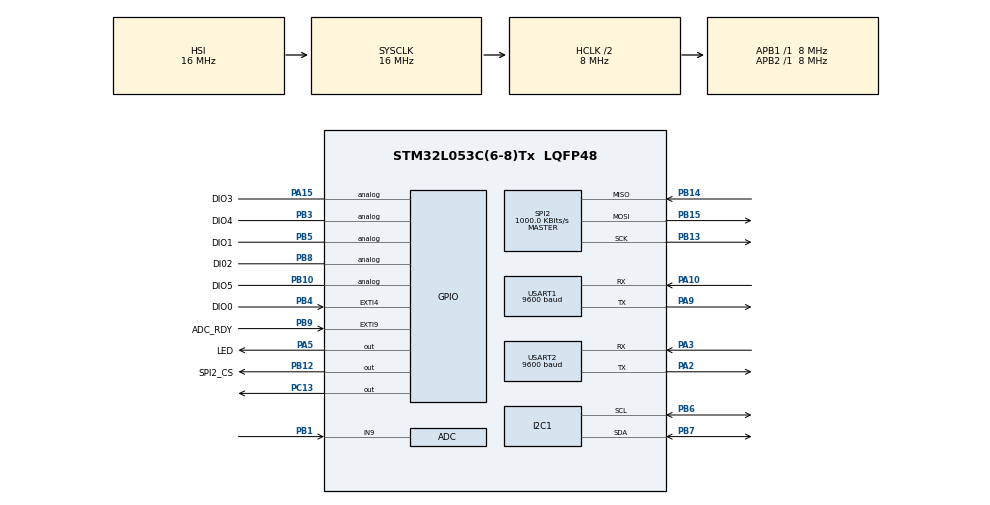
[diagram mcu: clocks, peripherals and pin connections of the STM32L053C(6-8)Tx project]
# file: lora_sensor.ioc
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ADC.ClockPrescaler=ADC_CLOCK_SYNC_PCLK_DIV2
ADC.ContinuousConvMode=ENABLE
ADC.DMAContinuousRequests=DISABLE
ADC.DataAlign=ADC_DATAALIGN_RIGHT
ADC.DiscontinuousConvMode=DISABLE
ADC.EOCSelection=ADC_EOC_SINGLE_CONV
ADC.EnableAnalogWatchDog=false
ADC.ExternalTrigConv=ADC_SOFTWARE_START
ADC.ExternalTrigConvEdge=ADC_EXTERNALTRIGCONVEDGE_NONE
ADC.LowPowerAutoPowerOff=DISABLE
ADC.LowPowerAutoWait=ENABLE
ADC.LowPowerFrequencyMode=DISABLE
ADC.Overrun=ADC_OVR_DATA_PRESERVED
ADC.OversamplingMode=DISABLE
ADC.Resolution=ADC_RESOLUTION_12B
ADC.SamplingTime=ADC_SAMPLETIME_160CYCLES_5
ADC.ScanConvMode=ADC_SCAN_DIRECTION_FORWARD
I2C1.Timing=0x2000090E
Mcu.Family=STM32L0
Mcu.Name=STM32L053C(6-8)Tx
Mcu.Package=LQFP48
NVIC.EXTI4_15_IRQn=true\:0\:0\:false\:true\:true\:2\:true
NVIC.RTC_IRQn=true\:0\:0\:true\:true\:true\:1\:true
NVIC.USART1_IRQn=true\:0\:0\:false\:false\:true\:true
NVIC.USART2_IRQn=true\:0\:0\:false\:false\:true\:true
PA10.Mode=Asynchronous
PA10.Signal=USART1_RX
PA13.Mode=Serial_Wire
PA13.Signal=SYS_SWDIO
PA14.Mode=Serial_Wire
PA14.Signal=SYS_SWCLK
PA15.GPIO_Label=DIO3
PA15.Signal=GPIO_Analog
PA2.Mode=Asynchronous
PA2.Signal=USART2_TX
PA3.Mode=Asynchronous
PA3.Signal=USART2_RX
PA5.GPIO_Label=LED
PA5.Signal=GPIO_Output
PA9.Mode=Asynchronous
PA9.Signal=USART1_TX
PB1.Mode=IN9
PB1.Signal=ADC_IN9
PB10.GPIO_Label=DIO5
PB10.Signal=GPIO_Analog
PB12.GPIO_Label=SPI2_CS
PB12.Signal=GPIO_Output
PB13.Mode=Full_Duplex_Master
PB13.Signal=SPI2_SCK
PB14.Mode=Full_Duplex_Master
PB14.Signal=SPI2_MISO
PB15.Mode=Full_Duplex_Master
PB15.Signal=SPI2_MOSI
PB3.GPIO_Label=DIO4
PB3.Signal=GPIO_Analog
PB4.GPIO_Label=DIO0
PB4.Signal=GPXTI4
PB5.GPIO_Label=DIO1
PB5.Signal=GPIO_Analog
PB6.Mode=I2C
PB6.Signal=I2C1_SCL
PB7.Mode=I2C
PB7.Signal=I2C1_SDA
PB8.GPIO_Label=DI02
PB8.Signal=GPIO_Analog
PB9.GPIO_Label=ADC_RDY
PB9.Signal=GPXTI9
PC13.Signal=GPIO_Output
ProjectManager.HeapSize=0x200
ProjectManager.StackSize=0x400
ProjectManager.TargetToolchain=SW4STM32
RCC.AHBCLKDivider=RCC_SYSCLK_DIV2
RCC.AHBFreq_Value=8000000
RCC.APB1Freq_Value=8000000
RCC.APB1TimFreq_Value=8000000
RCC.APB2Freq_Value=8000000
RCC.APB2TimFreq_Value=8000000
RCC.HCLKFreq_Value=8000000
RCC.HSE_VALUE=8000000
RCC.HSI16_VALUE=16000000
RCC.HSI48_VALUE=48000000
RCC.HSI_VALUE=16000000
RCC.LSE_VALUE=32768
RCC.MSI_VALUE=2097000
RCC.SYSCLKFreq_VALUE=16000000
RCC.SYSCLKSource=RCC_SYSCLKSOURCE_HSI
RCC.VCOOutputFreq_Value=48000000
RTC.WakeUpClock-WakeUp=RTC_WAKEUPCLOCK_CK_SPRE_16BITS
SPI2.BaudRatePrescaler=SPI_BAUDRATEPRESCALER_8
SPI2.CLKPhase=SPI_PHASE_1EDGE
SPI2.CLKPolarity=SPI_POLARITY_LOW
SPI2.CalculateBaudRate=1000.0 KBits/s
SPI2.Direction=SPI_DIRECTION_2LINES
SPI2.Mode=SPI_MODE_MASTER
SPI2.VirtualType=VM_MASTER
USART1.BaudRate=9600
USART1.VirtualMode-Asynchronous=VM_ASYNC
USART1.WordLength=WORDLENGTH_8B
USART2.BaudRate=9600
USART2.VirtualMode-Asynchronous=VM_ASYNC
VP_ADC_TempSens_Input.Mode=IN-TempSens
VP_RTC_VS_RTC_Activate.Mode=RTC_Enabled
VP_RTC_VS_RTC_Calendar.Mode=RTC_Calendar
VP_RTC_VS_RTC_WakeUp_intern.Mode=WakeUp
board=lora_sensor

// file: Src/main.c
/* USER CODE BEGIN Header */
/**
  ******************************************************************************
  * @file           : main.c
  * @brief          : Main program body
  ******************************************************************************
  ** This notice applies to any and all portions of this file
  * that are not between comment pairs USER CODE BEGIN and
  * USER CODE END. Other portions of this file, whether
  * inserted by the user or by software development tools
  * are owned by their respective copyright owners.
  *
  * COPYRIGHT(c) 2018 STMicroelectronics
  *
  * Redistribution and use in source and binary forms, with or without modification,
  * are permitted provided that the following conditions are met:
  *   1. Redistributions of source code must retain the above copyright notice,
  *      this list of conditions and the following disclaimer.
  *   2. Redistributions in binary form must reproduce the above copyright notice,
  *      this list of conditions and the following disclaimer in the documentation
  *      and/or other materials provided with the distribution.
  *   3. Neither the name of STMicroelectronics nor the names of its contributors
  *      may be used to endorse or promote products derived from this software
  *      without specific prior written permission.
  *
  * THIS SOFTWARE IS PROVIDED BY THE COPYRIGHT HOLDERS AND CONTRIBUTORS "AS IS"
  * AND ANY EXPRESS OR IMPLIED WARRANTIES, INCLUDING, BUT NOT LIMITED TO, THE
  * IMPLIED WARRANTIES OF MERCHANTABILITY AND FITNESS FOR A PARTICULAR PURPOSE ARE
  * DISCLAIMED. IN NO EVENT SHALL THE COPYRIGHT HOLDER OR CONTRIBUTORS BE LIABLE
  * FOR ANY DIRECT, INDIRECT, INCIDENTAL, SPECIAL, EXEMPLARY, OR CONSEQUENTIAL
  * DAMAGES (INCLUDING, BUT NOT LIMITED TO, PROCUREMENT OF SUBSTITUTE GOODS OR
  * SERVICES; LOSS OF USE, DATA, OR PROFITS; OR BUSINESS INTERRUPTION) HOWEVER
  * CAUSED AND ON ANY THEORY OF LIABILITY, WHETHER IN CONTRACT, STRICT LIABILITY,
  * OR TORT (INCLUDING NEGLIGENCE OR OTHERWISE) ARISING IN ANY WAY OUT OF THE USE
  * OF THIS SOFTWARE, EVEN IF ADVISED OF THE POSSIBILITY OF SUCH DAMAGE.
  *
  ******************************************************************************
  */
/* USER CODE END Header */

#include "main.h"
#include "adc.h"
#include "i2c.h"
#include "rtc.h"
#include "spi.h"
#include "usart.h"
#include "gpio.h"

/* USER CODE BEGIN Includes */

#include "string.h"
#include "stdio.h"

#include "rfm95.h"
#include "payload_solar.h"
#include "ads1015.h"
#include "battery.h"
#include "temperature.h"
#include "light.h"

/* USER CODE END Includes */

/* USER CODE BEGIN PD */
#define TXBUFFERSIZE 128
#define RXBUFFERSIZE 1

/* USER CODE END PD */

/* USER CODE BEGIN PV */
/* Private variables ---------------------------------------------------------*/

/* USER CODE END PV */

void SystemClock_Config(void);
static void MX_NVIC_Init(void);
/* USER CODE BEGIN PFP */
/* Private function prototypes -----------------------------------------------*/

/* USER CODE END PFP */

/* USER CODE BEGIN 0 */

volatile uint8_t dio0_action = 0;
MAIN_StateTypeDef state;

/* Buffer used for debug UART */
char tx_buffer[TXBUFFERSIZE];
char aRxBuffer[RXBUFFERSIZE];
volatile uint8_t txBuffer[TXBUFFERSIZE];
volatile uint8_t txIndex = 0;
//__IO ITStatus txReady = RESET;
volatile RX_StateTypeDef rxStatus = RX_STATE_EMPTY;
volatile PAYLOAD_Solar payload;
uint8_t payload_buff[PAYLOAD_Solar_SIZE];

/* USER CODE END 0 */

int main(void)
{

  /* MCU Configuration--------------------------------------------------------*/

  /* Reset of all peripherals, Initializes the Flash interface and the Systick. */
  HAL_Init();

  /* Configure the system clock */
  SystemClock_Config();

  /* Initialize all configured peripherals */
  MX_GPIO_Init();
  MX_ADC_Init();
  MX_I2C1_Init();
  MX_RTC_Init();
  MX_USART1_UART_Init();
  MX_SPI2_Init();
  MX_USART2_UART_Init();

  /* Initialize interrupts */
  MX_NVIC_Init();
  /* USER CODE BEGIN 2 */

  HAL_ADCEx_Calibration_Start(&hadc, ADC_SINGLE_ENDED);

    /* Enable Ultra low power mode */
    HAL_PWREx_EnableUltraLowPower();
    __HAL_RCC_WAKEUPSTOP_CLK_CONFIG(RCC_STOP_WAKEUPCLOCK_HSI);

    RFM95_init(&hspi2);

    payload.MessageType = 55;
    payload.DeviceId = 2;
    payload.MessageId = 0;
    payload.Flags = 0;
    payload.Light = 0; // Not got a light sensor attached to this device.

    // Start in sensing mode.
    state = MAIN_STATE_SENSE;
    //state = MAIN_STATE_SLEEP; //TMP sleep until UART payload

    /* Listen to the UART */
    HAL_UART_Receive_IT(&huart1, (uint8_t *)aRxBuffer, RXBUFFERSIZE);

  /* USER CODE END 2 */

  /* Infinite loop */
    while (1) {

    /* USER CODE BEGIN 3 */

        /* Do some work */
        if (state == MAIN_STATE_SENSE) {
            HAL_ADC_Start(&hadc);
            // Junk readings as the adc just turned on.
            payload.Temperature = TEMPERATURE_external();
            payload.CpuTemperature = TEMPERATURE_cpu();

            HAL_GPIO_WritePin(GPIOA, LED_Pin, GPIO_PIN_SET);

            payload.MessageId++;
            payload.VCC = BATTERY_vcc();
            payload.ChargeMv = BATTERY_ChargeMv();
            payload.ChargeMa = BATTERY_ChargeMa();

            // No external temperature sensor attached.
            // BUT TEMPERATURE_external() must still be called :(
            payload.Temperature = TEMPERATURE_external();
            //payload.Temperature = 0;

            payload.CpuTemperature = TEMPERATURE_cpu();
            HAL_ADC_Stop(&hadc);

            // Send data to debug UART.
			int tx_len = snprintf(
			  tx_buffer,
			  TXBUFFERSIZE,
			  "msg_id:%d, device_id:%u, flags:%X, vcc:%u, ma:%d, cpuC:%d\n",
			  payload.MessageId,
			  payload.DeviceId,
			  payload.Flags,
			  payload.VCC,
			  payload.ChargeMa,
			  payload.CpuTemperature
			);
			// Blocking UART.
			HAL_UART_Transmit(&huart2, (uint8_t *)tx_buffer, tx_len, 500);

            PAYLOAD_Solar_serialize(payload, payload_buff);
            RFM95_send(&hspi2, payload_buff, PAYLOAD_Solar_SIZE);

            state = MAIN_STATE_TX;
            /* Reset the flags as they must be set by the UART */
            payload.Flags = 0;
        }

        /* Do nothing while the transmission is in progress */
        else if (state == MAIN_STATE_TX) {
            if (dio0_action == 1) {
                RFM95_setMode(&hspi2, RFM95_MODE_SLEEP);
                state = MAIN_STATE_SLEEP;
            }

            //TMP while interrupts are investigated
            //HAL_Delay(30);
            //state = MAIN_STATE_SLEEP;
        }

        /* Now that all the work is done, sleep until its time to do it all again */
        else if (state == MAIN_STATE_SLEEP) {
            HAL_GPIO_WritePin(GPIOA, LED_Pin, GPIO_PIN_RESET);

//            // RX buffer has been processed, listen again for more.
//			  if (rxStatus == RX_STATE_EMPTY || rxStatus == RX_STATE_INCOMING) {
//				  payload.Flags = 0;
//				  // Non blocking.
//				  HAL_UART_Receive_IT(&huart1, (uint8_t *)aRxBuffer, RXBUFFERSIZE);
//			  } else if (rxStatus == RX_STATE_FULL) {
//				  // Got a UART message
//				  payload.Flags = txBuffer[0];
//				  //state = MAIN_STATE_SENSE;
//			  }

              //TMP
              HAL_Delay(17000);

//            /* Turn off the pin interrupts */
//            HAL_NVIC_DisableIRQ(EXTI4_15_IRQn);
//
//            HAL_SuspendTick();
//
//            /* Enter Stop Mode */
//            HAL_RTCEx_SetWakeUpTimer_IT(&hrtc, 60,
//            RTC_WAKEUPCLOCK_CK_SPRE_16BITS);
//            HAL_PWR_EnterSTOPMode(PWR_LOWPOWERREGULATOR_ON, PWR_STOPENTRY_WFI);
//            HAL_RTCEx_DeactivateWakeUpTimer(&hrtc);
//            HAL_ResumeTick();
//
//            /* Turn on the pin interrupts */
//            HAL_NVIC_EnableIRQ(EXTI4_15_IRQn);

              state = MAIN_STATE_SENSE;
        }

    }
  /* USER CODE END 3 */
}

void SystemClock_Config(void)
{
  RCC_OscInitTypeDef RCC_OscInitStruct = {0};
  RCC_ClkInitTypeDef RCC_ClkInitStruct = {0};
  RCC_PeriphCLKInitTypeDef PeriphClkInit = {0};

  /**Configure the main internal regulator output voltage
  */
  __HAL_PWR_VOLTAGESCALING_CONFIG(PWR_REGULATOR_VOLTAGE_SCALE1);
  /**Initializes the CPU, AHB and APB busses clocks
  */
  RCC_OscInitStruct.OscillatorType = RCC_OSCILLATORTYPE_HSI|RCC_OSCILLATORTYPE_LSI;
  RCC_OscInitStruct.HSIState = RCC_HSI_ON;
  RCC_OscInitStruct.HSICalibrationValue = RCC_HSICALIBRATION_DEFAULT;
  RCC_OscInitStruct.LSIState = RCC_LSI_ON;
  RCC_OscInitStruct.PLL.PLLState = RCC_PLL_NONE;
  if (HAL_RCC_OscConfig(&RCC_OscInitStruct) != HAL_OK)
  {
    Error_Handler();
  }
  /**Initializes the CPU, AHB and APB busses clocks
  */
  RCC_ClkInitStruct.ClockType = RCC_CLOCKTYPE_HCLK|RCC_CLOCKTYPE_SYSCLK
                              |RCC_CLOCKTYPE_PCLK1|RCC_CLOCKTYPE_PCLK2;
  RCC_ClkInitStruct.SYSCLKSource = RCC_SYSCLKSOURCE_HSI;
  RCC_ClkInitStruct.AHBCLKDivider = RCC_SYSCLK_DIV2;
  RCC_ClkInitStruct.APB1CLKDivider = RCC_HCLK_DIV1;
  RCC_ClkInitStruct.APB2CLKDivider = RCC_HCLK_DIV1;

  if (HAL_RCC_ClockConfig(&RCC_ClkInitStruct, FLASH_LATENCY_0) != HAL_OK)
  {
    Error_Handler();
  }
  PeriphClkInit.PeriphClockSelection = RCC_PERIPHCLK_USART1|RCC_PERIPHCLK_USART2
                              |RCC_PERIPHCLK_I2C1|RCC_PERIPHCLK_RTC;
  PeriphClkInit.Usart1ClockSelection = RCC_USART1CLKSOURCE_PCLK2;
  PeriphClkInit.Usart2ClockSelection = RCC_USART2CLKSOURCE_PCLK1;
  PeriphClkInit.I2c1ClockSelection = RCC_I2C1CLKSOURCE_PCLK1;
  PeriphClkInit.RTCClockSelection = RCC_RTCCLKSOURCE_LSI;
  if (HAL_RCCEx_PeriphCLKConfig(&PeriphClkInit) != HAL_OK)
  {
    Error_Handler();
  }
}

/**
  * @brief NVIC Configuration.
  * @retval None
  */
static void MX_NVIC_Init(void)
{
  /* RTC_IRQn interrupt configuration */
  HAL_NVIC_SetPriority(RTC_IRQn, 0, 0);
  HAL_NVIC_EnableIRQ(RTC_IRQn);
  /* EXTI4_15_IRQn interrupt configuration */
  HAL_NVIC_SetPriority(EXTI4_15_IRQn, 0, 0);
  HAL_NVIC_EnableIRQ(EXTI4_15_IRQn);
}

/* USER CODE BEGIN 4 */

/**
 * Callback for RTC_IRQHandler()
 */
void HAL_RTCEx_WakeUpTimerEventCallback(RTC_HandleTypeDef *hrtc) {
    // Wake up
}

void HAL_UART_RxCpltCallback(UART_HandleTypeDef *huart)
{
	uint8_t c = aRxBuffer[0];

	/* Wait for a new payload which starts with a tab. */
	if (rxStatus == RX_STATE_EMPTY) {
		if (c == 0x09) {
			rxStatus = RX_STATE_INCOMING;
			// Start at the beginning of the buffer.
			txIndex = 0;
			/* Don't store the tab */
		}
	}
	/* Do nothing until a tab is seen */
	else if (rxStatus == RX_STATE_INCOMING) {
		// Prevent buffer overflow.
		if (txIndex >= TXBUFFERSIZE) {
			txIndex = 0;
		}

		// Add the character to the tx buffer.
		txBuffer[txIndex++] = c;

		// Keep adding to the tx buffer until the new line character "\n".
		if (c == 0x0A) {
			// Got all the payload.
			rxStatus = RX_STATE_EMPTY;
			payload.Flags = txBuffer[0];
			/* Force a send */
			state = MAIN_STATE_SENSE; // Currently not instant due to the HAL_DELAY()
		}
	}

	HAL_UART_Receive_IT(&huart1, (uint8_t *)aRxBuffer, RXBUFFERSIZE);
}

void HAL_UART_TxCpltCallback(UART_HandleTypeDef *huart)
{

}

/**
 * Callback for HAL_GPIO_EXTI_IRQHandler() in EXTI4_15_IRQHandler().
 *
 * Handles the interrupts which occur on button press.
 */
void HAL_GPIO_EXTI_Callback(uint16_t GPIO_Pin) {
    if (GPIO_Pin == DIO0_Pin) {
        dio0_action = 1;
    }
}

/* USER CODE END 4 */

void Error_Handler(void)
{
  /* USER CODE BEGIN Error_Handler_Debug */
    /* User can add his own implementation to report the HAL error return state */
    while (1) {
        HAL_GPIO_TogglePin(GPIOA, LED_Pin);
        HAL_Delay(100);
    }
  /* USER CODE END Error_Handler_Debug */
}

/************************ (C) COPYRIGHT STMicroelectronics *****END OF FILE****/
